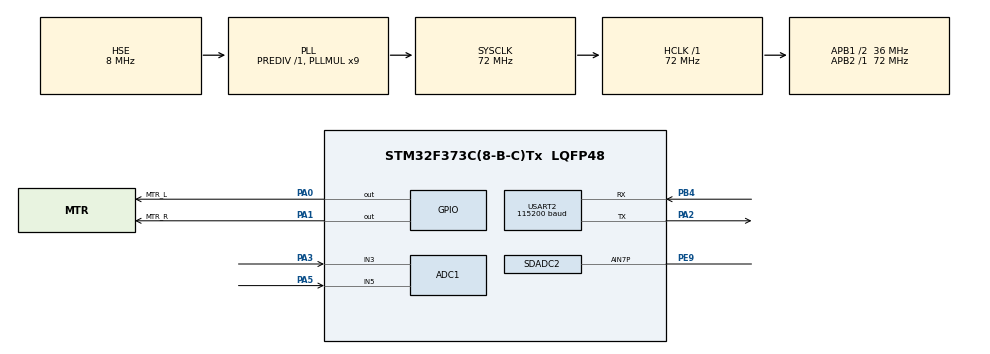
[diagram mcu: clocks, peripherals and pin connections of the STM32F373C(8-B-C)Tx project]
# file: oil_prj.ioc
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ADC1.Channel-0\#ChannelRegularConversion=ADC_CHANNEL_3
ADC1.Channel-1\#ChannelInjectedConversion=ADC_CHANNEL_5
ADC1.ContinuousConvMode=DISABLE
ADC1.DataAlign=ADC_DATAALIGN_RIGHT
ADC1.DiscontinuousConvMode=DISABLE
ADC1.EnableAnalogWatchDog=false
ADC1.EnableRegularConversion=ENABLE
ADC1.ExternalTrigConv=ADC_SOFTWARE_START
ADC1.InjNumberOfConversion=0
ADC1.InjectedOffset-1\#ChannelInjectedConversion=0
ADC1.NbrOfConversion=1
ADC1.NbrOfConversionFlag=1
ADC1.Rank-0\#ChannelRegularConversion=1
ADC1.Rank-1\#ChannelInjectedConversion=1
ADC1.SamplingTime-0\#ChannelRegularConversion=ADC_SAMPLETIME_1CYCLE_5
ADC1.SamplingTime-1\#ChannelInjectedConversion=ADC_SAMPLETIME_1CYCLE_5
ADC1.ScanConvMode=ADC_SCAN_DISABLE
ADC1.master=1
Dma.Request0=SDADC1
Dma.Request1=SDADC2
Dma.SDADC1.0.Direction=DMA_PERIPH_TO_MEMORY
Dma.SDADC1.0.Instance=DMA2_Channel3
Dma.SDADC1.0.MemDataAlignment=DMA_MDATAALIGN_WORD
Dma.SDADC1.0.MemInc=DMA_MINC_ENABLE
Dma.SDADC1.0.Mode=DMA_CIRCULAR
Dma.SDADC1.0.PeriphDataAlignment=DMA_PDATAALIGN_WORD
Dma.SDADC1.0.PeriphInc=DMA_PINC_DISABLE
Dma.SDADC1.0.Priority=DMA_PRIORITY_HIGH
Dma.SDADC2.1.Direction=DMA_PERIPH_TO_MEMORY
Dma.SDADC2.1.Instance=DMA2_Channel4
Dma.SDADC2.1.MemDataAlignment=DMA_MDATAALIGN_HALFWORD
Dma.SDADC2.1.MemInc=DMA_MINC_ENABLE
Dma.SDADC2.1.Mode=DMA_CIRCULAR
Dma.SDADC2.1.PeriphDataAlignment=DMA_PDATAALIGN_HALFWORD
Dma.SDADC2.1.PeriphInc=DMA_PINC_DISABLE
Dma.SDADC2.1.Priority=DMA_PRIORITY_LOW
Mcu.Family=STM32F3
Mcu.Name=STM32F373C(8-B-C)Tx
Mcu.Package=LQFP48
NVIC.ADC1_IRQn=true\:0\:0\:false\:false\:true\:true
NVIC.DMA2_Channel3_IRQn=true\:0\:0\:false\:false\:true\:false
NVIC.DMA2_Channel4_IRQn=true\:0\:0\:false\:false\:true\:false
NVIC.PriorityGroup=NVIC_PRIORITYGROUP_4
NVIC.SDADC2_IRQn=true\:0\:0\:false\:false\:true\:true
PA0.GPIO_Label=MTR_L
PA0.Signal=GPIO_Output
PA1.GPIO_Label=MTR_R
PA1.Signal=GPIO_Output
PA13.Mode=Serial_Wire
PA13.Signal=SYS_JTMS-SWDIO
PA14.Mode=Serial_Wire
PA14.Signal=SYS_JTCK-SWCLK
PA2.Mode=Asynchronous
PA2.Signal=USART2_TX
PA3.Mode=IN3
PA3.Signal=ADC1_IN3
PA5.Mode=IN5
PA5.Signal=ADC1_IN5
PB4.Mode=Asynchronous
PB4.Signal=USART2_RX
PE9.Mode=IN7-Single-Ended zero reference
PE9.Signal=SDADC2_AIN7P
PF0-OSC_IN.Mode=HSE-External-Oscillator
PF0-OSC_IN.Signal=RCC_OSC_IN
PF1-OSC_OUT.Mode=HSE-External-Oscillator
PF1-OSC_OUT.Signal=RCC_OSC_OUT
ProjectManager.HeapSize=0x200
ProjectManager.StackSize=0x400
ProjectManager.TargetToolchain=MDK-ARM V5
RCC.AHBFreq_Value=72000000
RCC.APB1CLKDivider=RCC_HCLK_DIV2
RCC.APB1Freq_Value=36000000
RCC.APB1TimFreq_Value=72000000
RCC.APB2Freq_Value=72000000
RCC.APB2TimFreq_Value=72000000
RCC.CortexFreq_Value=72000000
RCC.HCLKFreq_Value=72000000
RCC.HSE_VALUE=8000000
RCC.HSI_VALUE=8000000
RCC.LSE_VALUE=32768
RCC.PLLMUL=RCC_PLL_MUL9
RCC.PLLSourceVirtual=RCC_PLLSOURCE_HSE
RCC.SDADCPresc=RCC_SDADCSYSCLK_DIV12
RCC.SYSCLKFreq_VALUE=72000000
RCC.SYSCLKSource=RCC_SYSCLKSOURCE_PLLCLK
RCC.USBFreq_Value=72000000
SDADC2.EnableInjectedConversion=ENABLE
SDADC2.InjNumberOfConversion=1
SDADC2.InjectedChannel-10\#ChannelInjectedConversion=SDADC_CHANNEL_7
SDADC2.InjectedChannelsSelection=SDADC_CHANNEL_7
SDADC2.InjectedConfIndex-10\#ChannelInjectedConversion=SDADC_CONF_INDEX_0
SDADC2.InjectedContinuousMode=SDADC_CONTINUOUS_CONV_ON
SDADC2.InjectedRank-10\#ChannelInjectedConversion=1
SDADC2.InputMode0=SDADC_INPUT_MODE_SE_ZERO_REFERENCE
SDADC2.NbrOfConversionFlag=1
SDADC2.ReferenceVoltage=SDADC_VREF_VDDA
USART2.BaudRate=115200
USART2.Mode=MODE_TX_RX
USART2.VirtualMode-Asynchronous=VM_ASYNC
VP_SDADC2_CONF0.Mode=ConfigZero
board=project_V1

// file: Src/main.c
/* USER CODE BEGIN Header */
/**
  ******************************************************************************
  * @file           : main.c
  * @brief          : Main program body
  ******************************************************************************
  ** This notice applies to any and all portions of this file
  * that are not between comment pairs USER CODE BEGIN and
  * USER CODE END. Other portions of this file, whether
  * inserted by the user or by software development tools
  * are owned by their respective copyright owners.
  *
  * COPYRIGHT(c) 2018 STMicroelectronics
  *
  * Redistribution and use in source and binary forms, with or without modification,
  * are permitted provided that the following conditions are met:
  *   1. Redistributions of source code must retain the above copyright notice,
  *      this list of conditions and the following disclaimer.
  *   2. Redistributions in binary form must reproduce the above copyright notice,
  *      this list of conditions and the following disclaimer in the documentation
  *      and/or other materials provided with the distribution.
  *   3. Neither the name of STMicroelectronics nor the names of its contributors
  *      may be used to endorse or promote products derived from this software
  *      without specific prior written permission.
  *
  * THIS SOFTWARE IS PROVIDED BY THE COPYRIGHT HOLDERS AND CONTRIBUTORS "AS IS"
  * AND ANY EXPRESS OR IMPLIED WARRANTIES, INCLUDING, BUT NOT LIMITED TO, THE
  * IMPLIED WARRANTIES OF MERCHANTABILITY AND FITNESS FOR A PARTICULAR PURPOSE ARE
  * DISCLAIMED. IN NO EVENT SHALL THE COPYRIGHT HOLDER OR CONTRIBUTORS BE LIABLE
  * FOR ANY DIRECT, INDIRECT, INCIDENTAL, SPECIAL, EXEMPLARY, OR CONSEQUENTIAL
  * DAMAGES (INCLUDING, BUT NOT LIMITED TO, PROCUREMENT OF SUBSTITUTE GOODS OR
  * SERVICES; LOSS OF USE, DATA, OR PROFITS; OR BUSINESS INTERRUPTION) HOWEVER
  * CAUSED AND ON ANY THEORY OF LIABILITY, WHETHER IN CONTRACT, STRICT LIABILITY,
  * OR TORT (INCLUDING NEGLIGENCE OR OTHERWISE) ARISING IN ANY WAY OUT OF THE USE
  * OF THIS SOFTWARE, EVEN IF ADVISED OF THE POSSIBILITY OF SUCH DAMAGE.
  *
  ******************************************************************************
  */
/* USER CODE END Header */

#include "main.h"

/* USER CODE BEGIN Includes */
#include "math.h"
/* USER CODE END Includes */

/* USER CODE BEGIN PD */
static void Calibration_process(void);
static void Rotation_L(uint16_t rotate);
static void Rotation_R(uint16_t rotate);
/* USER CODE END PD */

/* USER CODE BEGIN PM */
const uint16_t Degree_bar_tbl[256] = {
220, 232, 244, 256, 268, 280, 292, 304, 316, 328, 340, 352, 364, 376, 388, 400, 412, 424, 436, 448, 460, 472, 484, 496, 508, 520,
532, 544, 556, 568, 580, 592, 604, 616, 628, 640, 652, 664, 676, 688, 700, 712, 724, 736, 748, 760, 772, 784, 796, 808, 820, 832,
844, 856, 868, 880, 892, 904, 916, 928, 940, 952, 964, 976, 988, 1000, 1012, 1024, 1036, 1048, 1060, 1072, 1084, 1096, 1108, 1120,
1132, 1144, 1156, 1168, 1180, 1192, 1204, 1216, 1228, 1240, 1252, 1264, 1276, 1288, 1300, 1312, 1324, 1336, 1348, 1360, 1372, 1384,
1396, 1408, 1420, 1432, 1444, 1456, 1468, 1480, 1492, 1504, 1516, 1528, 1540, 1552, 1564, 1576, 1588, 1600, 1612, 1624, 1636, 1648,
1660, 1672, 1684, 1696, 1708, 1720, 1732, 1744, 1756, 1768, 1780, 1792, 1804, 1816, 1828, 1840, 1852, 1864, 1876, 1888, 1900, 1912,
1924, 1936, 1948, 1960, 1972, 1984, 1996, 2008, 2020, 2032, 2044, 2056, 2068, 2080, 2092, 2104, 2116, 2128, 2140, 2152, 2164, 2176,
2188, 2200, 2212, 2224, 2236, 2248, 2260, 2272, 2284, 2296, 2308, 2320, 2332, 2344, 2356, 2368, 2380, 2392, 2404, 2416, 2428, 2440,
2452, 2464, 2476, 2488, 2500, 2512, 2524, 2536, 2548, 2560, 2572, 2584, 2596, 2608, 2620, 2632, 2644, 2656, 2668, 2680, 2692, 2704,
2716, 2728, 2740, 2752, 2764, 2776, 2788, 2800, 2812, 2824, 2836, 2848, 2860, 2872, 2884, 2896, 2908, 2920, 2932, 2944, 2956, 2968,
2980, 2992, 3004, 3016, 3028, 3040, 3052, 3064, 3076, 3088, 3100, 3112, 3124, 3136, 3148, 3160, 3172, 3184, 3196, 3208, 3220, 3232,
3244, 3256, 3268, 3280
};

const uint32_t SDADC_val_deg[256] = {
432549824,432549828,432549832,432549836,432549840,432549844,432549848,432549852,432549856,432549860,432549864,432549868,432549872,
432549876,432549880,432549884,432549888,432549892,432549896,432549900,432549904,432549908,432549912,432549916,432549920,432549924,
432549928,432549932,432549936,432549940,432549944,432549948,432549952,432549956,432549960,432549964,432549968,432549972,432549976,
432549980,432549984,432549988,432549992,432549996,432550000,432550004,432550008,432550012,432550016,432550020,432550024,432550028,
432550032,432550036,432550040,432550044,432550048,432550052,432550056,432550060,432550064,432550068,432550072,432550076,432550080,
432550084,432550088,432550092,432550096,432550100,432550104,432550108,432550112,432550116,432550120,432550124,432550128,432550132,
432550136,432550140,432550144,432550148,432550152,432550156,432550160,432550164,432550168,432550172,432550176,432550180,432550184,
432550188,432550192,432550196,432550200,432550204,432550208,432550212,432550216,432550220,432550224,432550228,432550232,432550236,
432550240,432550244,432550248,432550252,432550256,432550260,432550264,432550268,432550272,432550276,432550280,432550284,432550288,
432550292,432550296,432550300,432550304,432550308,432550312,432550316,432550320,432550324,432550328,432550332,432550336,432550340,
432550344,432550348,432550352,432550356,432550360,432550364,432550368,432550372,432550376,432550380,432550384,432550388,432550392,
432550396,432550400,432550404,432550408,432550412,432550416,432550420,432550424,432550428,432550432,432550436,432550440,432550444,
432550448,432550452,432550456,432550460,432550464,432550468,432550472,432550476,432550480,432550484,432550488,432550492,432550496,
432550500,432550504,432550508,432550512,432550516,432550520,432550524,432550528,432550532,432550536,432550540,432550544,432550548,
432550552,432550556,432550560,432550564,432550568,432550572,432550576,432550580,432550584,432550588,432550592,432550596,432550600,
432550604,432550608,432550612,432550616,432550620,432550624,432550628,432550632,432550636,432550640,432550644,432550648,432550652,
432550656,432550660,432550664,432550668,432550672,432550676,432550680,432550684,432550688,432550692,432550696,432550700,432550704,
432550708,432550712,432550716,432550720,432550724,432550728,432550732,432550736,432550740,432550744,432550748,432550752,432550756,
432550760,432550764,432550768,432550772,432550776,432550780,432550784,432550788,432550792,432550796,432550800,432550804,432550808,
432550812,432550816,432550820,432550824,432550828,432550832,432550836,432550840,432550844
};
/* USER CODE END PM */

ADC_HandleTypeDef hadc1;

SDADC_HandleTypeDef hsdadc2;
DMA_HandleTypeDef hdma_sdadc2;

UART_HandleTypeDef huart2;

/* USER CODE BEGIN PV */
__IO uint32_t InjectedConvData_SDADC1[512];
__IO uint32_t SDADC_Value = 0;
uint32_t Pre_data, Pas_data = 0;
int Position_Dir = 0;
char buffer_adc[128];
/* USER CODE END PV */

void SystemClock_Config(void);
static void MX_GPIO_Init(void);
static void MX_DMA_Init(void);
static void MX_ADC1_Init(void);
static void MX_USART2_UART_Init(void);
static void MX_SDADC2_Init(void);

int main(void)
{

  /* MCU Configuration--------------------------------------------------------*/

  /* Reset of all peripherals, Initializes the Flash interface and the Systick. */
  HAL_Init();

  /* Configure the system clock */
  SystemClock_Config();

  /* Initialize all configured peripherals */
  MX_GPIO_Init();
  MX_DMA_Init();
  MX_ADC1_Init();
  MX_USART2_UART_Init();
  MX_SDADC2_Init();
  /* USER CODE BEGIN 2 */
	/* Start Calibration in polling mode */
	if(HAL_SDADC_CalibrationStart(&hsdadc2, SDADC_CALIBRATION_SEQ_1) != HAL_OK){
		Error_Handler();
	}
	/* Pool for the end of calibration */
	if(HAL_SDADC_PollForCalibEvent(&hsdadc2, HAL_MAX_DELAY) != HAL_OK){
		/* An error occurs while waiting for the end of the calibration */
		Error_Handler();
	}
	/* Start injected conversionin interrupt mode */
	if(HAL_SDADC_InjectedStart_DMA(&hsdadc2, (uint32_t *)InjectedConvData_SDADC1, 512) != HAL_OK){
		/* An error occurs duringthe configuration of the injected conversion in interrupt mode */
		Error_Handler();
	}
	/* ADC start calibration in interrupt mode */
	if(HAL_ADCEx_Calibration_Start(&hadc1) != HAL_OK){
		Error_Handler();
	}
	/* Start the first system calibration by Feedback signal */
	Calibration_process();
  /* USER CODE END 2 */

  /* Infinite loop */
  while (1)
  {

    /* USER CODE BEGIN 3 */
		Pre_data = SDADC_Value;
		while( HAL_ADC_Start(&hadc1) != HAL_OK){};
		HAL_ADC_PollForConversion(&hadc1, HAL_MAX_DELAY);
		int Pt_value = HAL_ADC_GetValue(&hadc1);
		if(Pre_data != Pas_data) {
			for(int i = 0; i < 256; i++){
				if((SDADC_val_deg[i] == SDADC_Value) || (SDADC_val_deg[i] == SDADC_Value + 1) || (SDADC_val_deg[i] == SDADC_Value + 2) || (SDADC_val_deg[i] == SDADC_Value + 3))
					Position_Dir = i;
			}
			if(Degree_bar_tbl[Position_Dir] > Pt_value)
				Rotation_R(Degree_bar_tbl[Position_Dir]);
			else
				Rotation_L(Degree_bar_tbl[Position_Dir]);
			sprintf(buffer_adc, "SDADC value is: %d, Pos: %d, Avg: %d \r\n", (uint32_t)SDADC_Value, (uint8_t)Position_Dir, (uint16_t)Degree_bar_tbl[Position_Dir]);
			HAL_UART_Transmit(&huart2, (uint8_t *)buffer_adc, 48, HAL_MAX_DELAY);
			HAL_Delay(50);
			Pas_data = Pre_data;
		}
  }
  /* USER CODE END 3 */
}

void SystemClock_Config(void)
{
  RCC_OscInitTypeDef RCC_OscInitStruct = {0};
  RCC_ClkInitTypeDef RCC_ClkInitStruct = {0};
  RCC_PeriphCLKInitTypeDef PeriphClkInit = {0};

  /**Initializes the CPU, AHB and APB busses clocks
  */
  RCC_OscInitStruct.OscillatorType = RCC_OSCILLATORTYPE_HSE;
  RCC_OscInitStruct.HSEState = RCC_HSE_ON;
  RCC_OscInitStruct.HSEPredivValue = RCC_HSE_PREDIV_DIV1;
  RCC_OscInitStruct.HSIState = RCC_HSI_ON;
  RCC_OscInitStruct.PLL.PLLState = RCC_PLL_ON;
  RCC_OscInitStruct.PLL.PLLSource = RCC_PLLSOURCE_HSE;
  RCC_OscInitStruct.PLL.PLLMUL = RCC_PLL_MUL9;
  if (HAL_RCC_OscConfig(&RCC_OscInitStruct) != HAL_OK)
  {
    Error_Handler();
  }
  /**Initializes the CPU, AHB and APB busses clocks
  */
  RCC_ClkInitStruct.ClockType = RCC_CLOCKTYPE_HCLK|RCC_CLOCKTYPE_SYSCLK
                              |RCC_CLOCKTYPE_PCLK1|RCC_CLOCKTYPE_PCLK2;
  RCC_ClkInitStruct.SYSCLKSource = RCC_SYSCLKSOURCE_PLLCLK;
  RCC_ClkInitStruct.AHBCLKDivider = RCC_SYSCLK_DIV1;
  RCC_ClkInitStruct.APB1CLKDivider = RCC_HCLK_DIV2;
  RCC_ClkInitStruct.APB2CLKDivider = RCC_HCLK_DIV1;

  if (HAL_RCC_ClockConfig(&RCC_ClkInitStruct, FLASH_LATENCY_2) != HAL_OK)
  {
    Error_Handler();
  }
  PeriphClkInit.PeriphClockSelection = RCC_PERIPHCLK_USART2|RCC_PERIPHCLK_ADC1
                              |RCC_PERIPHCLK_SDADC;
  PeriphClkInit.Usart2ClockSelection = RCC_USART2CLKSOURCE_PCLK1;
  PeriphClkInit.SdadcClockSelection = RCC_SDADCSYSCLK_DIV12;
  PeriphClkInit.Adc1ClockSelection = RCC_ADC1PCLK2_DIV2;

  if (HAL_RCCEx_PeriphCLKConfig(&PeriphClkInit) != HAL_OK)
  {
    Error_Handler();
  }
  HAL_PWREx_EnableSDADC(PWR_SDADC_ANALOG2);
}

static void MX_ADC1_Init(void)
{

  ADC_ChannelConfTypeDef sConfig = {0};
  ADC_InjectionConfTypeDef sConfigInjected = {0};

  /**Common config
  */
  hadc1.Instance = ADC1;
  hadc1.Init.ScanConvMode = ADC_SCAN_DISABLE;
  hadc1.Init.ContinuousConvMode = DISABLE;
  hadc1.Init.DiscontinuousConvMode = DISABLE;
  hadc1.Init.ExternalTrigConv = ADC_SOFTWARE_START;
  hadc1.Init.DataAlign = ADC_DATAALIGN_RIGHT;
  hadc1.Init.NbrOfConversion = 1;
  if (HAL_ADC_Init(&hadc1) != HAL_OK)
  {
    Error_Handler();
  }
  /**Configure Regular Channel
  */
  sConfig.Channel = ADC_CHANNEL_3;
  sConfig.Rank = ADC_REGULAR_RANK_1;
  sConfig.SamplingTime = ADC_SAMPLETIME_1CYCLE_5;
  if (HAL_ADC_ConfigChannel(&hadc1, &sConfig) != HAL_OK)
  {
    Error_Handler();
  }
  /**Configure Inj ected Channel
  */
  sConfigInjected.InjectedChannel = ADC_CHANNEL_5;
  sConfigInjected.InjectedRank = ADC_INJECTED_RANK_1;
  sConfigInjected.InjectedNbrOfConversion = 0;
  sConfigInjected.InjectedSamplingTime = ADC_SAMPLETIME_1CYCLE_5;
  sConfigInjected.AutoInjectedConv = DISABLE;
  sConfigInjected.InjectedDiscontinuousConvMode = DISABLE;
  sConfigInjected.InjectedOffset = 0;
  if (HAL_ADCEx_InjectedConfigChannel(&hadc1, &sConfigInjected) != HAL_OK)
  {
    Error_Handler();
  }

}

static void MX_SDADC2_Init(void)
{

  SDADC_ConfParamTypeDef ConfParamStruct = {0};

  /**Configure the SDADC low power mode, fast conversion mode,
  slow clock mode and SDADC1 reference voltage
  */
  hsdadc2.Instance = SDADC2;
  hsdadc2.Init.IdleLowPowerMode = SDADC_LOWPOWER_NONE;
  hsdadc2.Init.FastConversionMode = SDADC_FAST_CONV_DISABLE;
  hsdadc2.Init.SlowClockMode = SDADC_SLOW_CLOCK_DISABLE;
  hsdadc2.Init.ReferenceVoltage = SDADC_VREF_VDDA;
  hsdadc2.InjectedTrigger = SDADC_SOFTWARE_TRIGGER;
  if (HAL_SDADC_Init(&hsdadc2) != HAL_OK)
  {
    Error_Handler();
  }
  /**Configure the Injected Mode
  */
  if (HAL_SDADC_SelectInjectedDelay(&hsdadc2, SDADC_INJECTED_DELAY_NONE) != HAL_OK)
  {
    Error_Handler();
  }
  if (HAL_SDADC_SelectInjectedTrigger(&hsdadc2, SDADC_SOFTWARE_TRIGGER) != HAL_OK)
  {
    Error_Handler();
  }
  if (HAL_SDADC_InjectedConfigChannel(&hsdadc2, SDADC_CHANNEL_7, SDADC_CONTINUOUS_CONV_ON) != HAL_OK)
  {
    Error_Handler();
  }
  /**Set parameters for SDADC configuration 0 Register
  */
  ConfParamStruct.InputMode = SDADC_INPUT_MODE_SE_ZERO_REFERENCE;
  ConfParamStruct.Gain = SDADC_GAIN_1;
  ConfParamStruct.CommonMode = SDADC_COMMON_MODE_VSSA;
  ConfParamStruct.Offset = 0;
  if (HAL_SDADC_PrepareChannelConfig(&hsdadc2, SDADC_CONF_INDEX_0, &ConfParamStruct) != HAL_OK)
  {
    Error_Handler();
  }
  /**Configure the Injected Channel
  */
  if (HAL_SDADC_AssociateChannelConfig(&hsdadc2, SDADC_CHANNEL_7, SDADC_CONF_INDEX_0) != HAL_OK)
  {
    Error_Handler();
  }

}

static void MX_USART2_UART_Init(void)
{

  huart2.Instance = USART2;
  huart2.Init.BaudRate = 115200;
  huart2.Init.WordLength = UART_WORDLENGTH_8B;
  huart2.Init.StopBits = UART_STOPBITS_1;
  huart2.Init.Parity = UART_PARITY_NONE;
  huart2.Init.Mode = UART_MODE_TX_RX;
  huart2.Init.HwFlowCtl = UART_HWCONTROL_NONE;
  huart2.Init.OverSampling = UART_OVERSAMPLING_16;
  huart2.Init.OneBitSampling = UART_ONE_BIT_SAMPLE_DISABLE;
  huart2.AdvancedInit.AdvFeatureInit = UART_ADVFEATURE_NO_INIT;
  if (HAL_UART_Init(&huart2) != HAL_OK)
  {
    Error_Handler();
  }

}

static void MX_DMA_Init(void)
{
  /* DMA controller clock enable */
  __HAL_RCC_DMA2_CLK_ENABLE();

  /* DMA interrupt init */
  /* DMA2_Channel3_IRQn interrupt configuration */
  HAL_NVIC_SetPriority(DMA2_Channel3_IRQn, 0, 0);
  HAL_NVIC_EnableIRQ(DMA2_Channel3_IRQn);
  /* DMA2_Channel4_IRQn interrupt configuration */
  HAL_NVIC_SetPriority(DMA2_Channel4_IRQn, 0, 0);
  HAL_NVIC_EnableIRQ(DMA2_Channel4_IRQn);

}

static void MX_GPIO_Init(void)
{
  GPIO_InitTypeDef GPIO_InitStruct = {0};

  /* GPIO Ports Clock Enable */
  __HAL_RCC_GPIOF_CLK_ENABLE();
  __HAL_RCC_GPIOA_CLK_ENABLE();
  __HAL_RCC_GPIOE_CLK_ENABLE();
  __HAL_RCC_GPIOB_CLK_ENABLE();

  /*Configure GPIO pin Output Level */
  HAL_GPIO_WritePin(GPIOA, MTR_L_Pin|MTR_R_Pin, GPIO_PIN_RESET);

  /*Configure GPIO pins : MTR_L_Pin MTR_R_Pin */
  GPIO_InitStruct.Pin = MTR_L_Pin|MTR_R_Pin;
  GPIO_InitStruct.Mode = GPIO_MODE_OUTPUT_PP;
  GPIO_InitStruct.Pull = GPIO_NOPULL;
  GPIO_InitStruct.Speed = GPIO_SPEED_FREQ_LOW;
  HAL_GPIO_Init(GPIOA, &GPIO_InitStruct);

}

/* USER CODE BEGIN 4 */
void DMA2_Channel4_IRQHandler(void)
{
	uint32_t tmpCnv = 0, tmpVal = 0;
	HAL_DMA_IRQHandler(&hdma_sdadc2);
	HAL_SDADC_InjectedStop_DMA(&hsdadc2);
	tmpCnv = (int16_t)InjectedConvData_SDADC1[0];
	tmpVal = ((((tmpCnv) * SDADC_VREF)) / (SDADC_GAIN * 32767));
	SDADC_Value = tmpVal;
	for(int i = 0; i < 512; i++){
		tmpCnv = (int16_t)InjectedConvData_SDADC1[i];
		tmpVal = ((((tmpCnv) * SDADC_VREF)) / (SDADC_GAIN * 32767));
		if(tmpVal > SDADC_Value)
			SDADC_Value = tmpVal;
	}
	//sprintf(buffer_adc, "SDADC value is: %d \r\n", (int)SDADC_Value);
	//HAL_UART_Transmit(&huart2, (uint8_t *)buffer_adc, 30, HAL_MAX_DELAY);
	//HAL_Delay(250);
	if(HAL_SDADC_InjectedStart_DMA(&hsdadc2, (uint32_t *)InjectedConvData_SDADC1, 512) != HAL_OK){
		Error_Handler();
	}
}

static void Calibration_process(void){
	static int Pt_value = 0;
	while( HAL_ADC_Start(&hadc1) != HAL_OK){};
	HAL_ADC_PollForConversion(&hadc1, HAL_MAX_DELAY);
	Pt_value = HAL_ADC_GetValue(&hadc1);
	while(Pt_value > 220 ){
		while( HAL_ADC_Start(&hadc1) != HAL_OK){};
		HAL_ADC_PollForConversion(&hadc1, HAL_MAX_DELAY);
		Pt_value = HAL_ADC_GetValue(&hadc1);
		HAL_GPIO_WritePin(GPIOA, MTR_L_Pin, GPIO_PIN_SET);
		HAL_Delay(2);
		HAL_GPIO_WritePin(GPIOA, MTR_L_Pin, GPIO_PIN_RESET);
		HAL_Delay(5);
	}
		//sprintf(buffer_adc, "Calibration fixed by: %d \r\n", Pt_value);
		//HAL_UART_Transmit(&huart2, (uint8_t *)buffer_adc, 27, HAL_MAX_DELAY);
}

static void Rotation_R(uint16_t rotate){
	static int Pt_value = 0;
	while(HAL_ADC_Start(&hadc1) != HAL_OK){};
	HAL_ADC_PollForConversion(&hadc1, HAL_MAX_DELAY);
	Pt_value = HAL_ADC_GetValue(&hadc1);
	while(Pt_value < rotate ){
		while(HAL_ADC_Start(&hadc1) != HAL_OK){};
		HAL_ADC_PollForConversion(&hadc1, HAL_MAX_DELAY);
		Pt_value = HAL_ADC_GetValue(&hadc1);
		HAL_GPIO_WritePin(GPIOA, MTR_R_Pin, GPIO_PIN_SET);
		HAL_Delay(3);
		HAL_GPIO_WritePin(GPIOA, MTR_R_Pin, GPIO_PIN_RESET);
		HAL_Delay(10);
	}
	return;
}
static void Rotation_L(uint16_t rotate){
	static int Pt_value = 0;
	while(HAL_ADC_Start(&hadc1) != HAL_OK){};
	HAL_ADC_PollForConversion(&hadc1, HAL_MAX_DELAY);
	Pt_value = HAL_ADC_GetValue(&hadc1);
	while(Pt_value > rotate ){
		while(HAL_ADC_Start(&hadc1) != HAL_OK){};
		HAL_ADC_PollForConversion(&hadc1, HAL_MAX_DELAY);
		Pt_value = HAL_ADC_GetValue(&hadc1);
		HAL_GPIO_WritePin(GPIOA, MTR_L_Pin, GPIO_PIN_SET);
		HAL_Delay(3);
		HAL_GPIO_WritePin(GPIOA, MTR_L_Pin, GPIO_PIN_RESET);
		HAL_Delay(10);
	}
	return;
}
/* USER CODE END 4 */

void Error_Handler(void)
{
  /* USER CODE BEGIN Error_Handler_Debug */
  /* User can add his own implementation to report the HAL error return state */
	HAL_GPIO_WritePin(GPIOA, MTR_R_Pin, GPIO_PIN_SET);
  /* USER CODE END Error_Handler_Debug */
}

/************************ (C) COPYRIGHT STMicroelectronics *****END OF FILE****/
